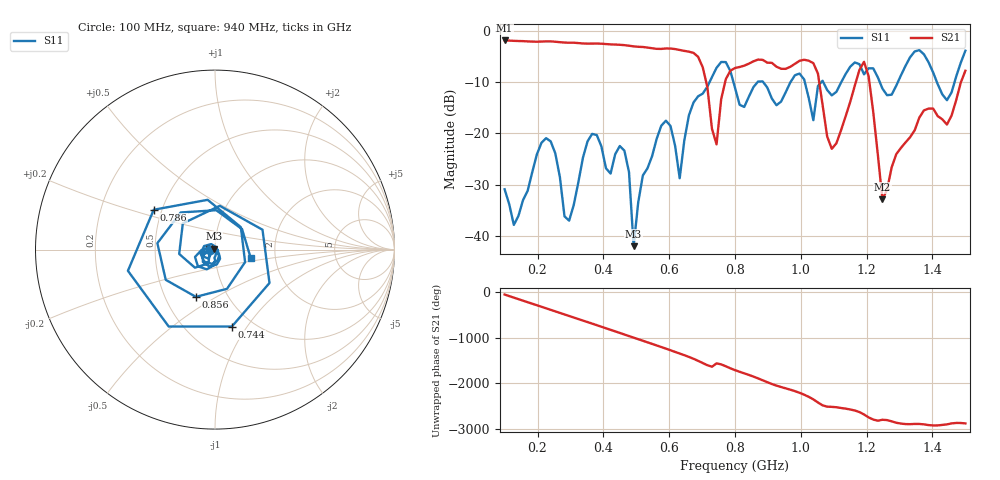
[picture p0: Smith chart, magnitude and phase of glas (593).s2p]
! NanoVNA-App
! Date: 2025-09-25 16:00:05
! Start: 100MHz Stop: 1,5GHz Points: 101
! S-Parameter data: F S11 S21 S12 S22
# Hz S RI R 50
!  Frequency  S11_Real  S11_Imag  S21_Real  S21_Imag  S12_Real  S12_Imag  S22_Real  S22_Imag
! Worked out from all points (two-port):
!   101 points, 100 MHz to 1.5 GHz, reference 50 ohm
!   highest |S21| = -1.80 dB at 100 MHz (marker M1); lowest = -32.9 dB at 1.248 GHz (marker M2)
!   |S21| within 3 dB of the highest: start of sweep to 684.2 MHz
!   lowest |S11| = -42.1 dB at 492 MHz (marker M3), VSWR 1.02, Z = 49.5 + j0.599 ohm
!   |S11| at or under -10 dB: start of sweep to 722.3 MHz; 795.5 MHz to 868 MHz (72.48 MHz wide, 8.71 % of centre); 886.2 MHz to 968.2 MHz (82.03 MHz wide, 8.85 % of centre) (the widest 3 of 7)
!   S12 and S22 are empty: the file has one direction only
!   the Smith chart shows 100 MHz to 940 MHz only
!   S11 on the Smith chart (normalised r, x): 100 MHz: 0.95, -0.01; 744 MHz: 0.80, -0.85; 786 MHz: 0.45, +0.24; 856 MHz: 0.71, -0.41; 940 MHz: 1.49, -0.15
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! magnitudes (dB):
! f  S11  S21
! 100 MHz  -30.9  -1.8
! 128 MHz  -37.9  -1.9
! 226 MHz  -20.9  -2.0
! 296 MHz  -37.1  -2.2
! 338 MHz  -24.8  -2.4
! 464 MHz  -23.4  -2.7
! 492 MHz  -42.1  -3.0
! 576 MHz  -18.5  -3.5
! 632 MHz  -28.8  -3.7
! 702 MHz  -12.2  -7.1
! 744 MHz  -7.2  -22.1
! 786 MHz  -7.8  -7.7
! 800 MHz  -11.0  -7.2
! 856 MHz  -10.9  -5.9
! 940 MHz  -13.8  -7.3
! 996 MHz  -8.3  -5.8
! 1.038 GHz  -17.4  -6.2
! 1.094 GHz  -12.6  -23.0
! 1.192 GHz  -8.4  -6.0
! 1.248 GHz  -11.2  -32.9
! 1.276 GHz  -12.4  -26.6
! 1.5 GHz  -3.8  -7.7
